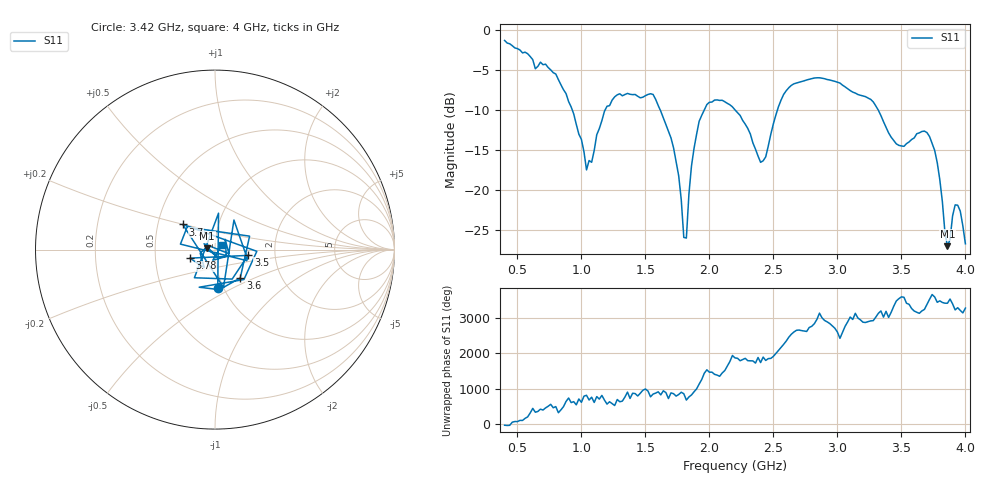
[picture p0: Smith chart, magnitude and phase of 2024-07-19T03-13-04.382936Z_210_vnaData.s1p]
!Created with skrf (http://scikit-rf.org).
# Hz S RI R 50.0
!freq ReS11 ImS11
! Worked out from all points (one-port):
!   181 points, 400 MHz to 4 GHz, reference 50 ohm
!   lowest |S11| = -27.0 dB at 3.86 GHz (marker M1), VSWR 1.09, Z = 45.7 + j0.586 ohm
!   |S11| at or under -10 dB: 1.615 GHz to 1.96 GHz (344.9 MHz wide, 19.3 % of centre); 2.2 GHz to 2.532 GHz (332.2 MHz wide, 14 % of centre); 3.318 GHz to end of sweep (the widest 3 of 4)
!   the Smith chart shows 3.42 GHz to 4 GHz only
!   S11 on the Smith chart (normalised r, x): 3.42 GHz: 0.94, -0.42; 3.5 GHz: 1.46, -0.08; 3.6 GHz: 1.25, -0.41; 3.7 GHz: 0.67, +0.20; 3.78 GHz: 0.75, -0.07; 4 GHz: 1.08, +0.06
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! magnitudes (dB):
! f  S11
! 400 MHz  -1.4
! 860 MHz  -7.5
! 1.04 GHz  -17.5
! 1.18 GHz  -10.2
! 1.3 GHz  -8.0
! 1.56 GHz  -8.1
! 1.7 GHz  -13.5
! 1.76 GHz  -18.2
! 1.8 GHz  -25.9
! 1.82 GHz  -26.0
! 1.86 GHz  -17.0
! 1.92 GHz  -11.4
! 2.04 GHz  -8.8
! 2.2 GHz  -10.0
! 2.4 GHz  -16.5
! 2.56 GHz  -8.8
! 2.66 GHz  -6.8
! 3.1 GHz  -7.6
! 3.28 GHz  -9.0
! 3.42 GHz  -13.4
! 3.5 GHz  -14.5
! 3.56 GHz  -14.0
! 3.6 GHz  -13.5
! 3.7 GHz  -12.8
! 3.78 GHz  -16.6
! 3.86 GHz  -27.0
! 3.92 GHz  -21.8
! 4 GHz  -26.7
